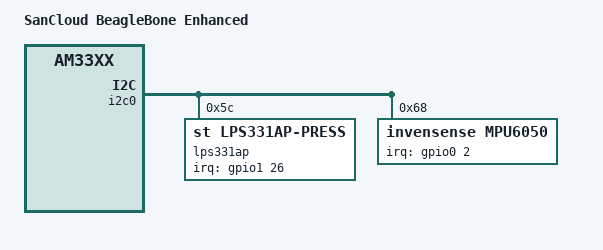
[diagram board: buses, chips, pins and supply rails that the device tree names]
// SPDX-License-Identifier: GPL-2.0-only
/*
 * Copyright (C) 2012 Texas Instruments Incorporated - https://www.ti.com/
 */
/dts-v1/;

#include "am33xx.dtsi"
#include "am335x-bone-common.dtsi"
#include "am335x-boneblack-common.dtsi"
#include "am335x-boneblack-hdmi.dtsi"
#include "am335x-sancloud-bbe-common.dtsi"
#include <dt-bindings/interrupt-controller/irq.h>

/ {
	model = "SanCloud BeagleBone Enhanced";
	compatible = "sancloud,am335x-boneenhanced", "ti,am335x-bone-black", "ti,am335x-bone", "ti,am33xx";
};

&am33xx_pinmux {
	mpu6050_pins: mpu6050-pins {
		pinctrl-single,pins = <
			AM33XX_PADCONF(AM335X_PIN_UART0_CTSN, PIN_INPUT, MUX_MODE7)    /* uart0_ctsn.gpio1_8 */
		>;
	};

	lps3331ap_pins: lps3331ap-pins {
		pinctrl-single,pins = <
			AM33XX_PADCONF(AM335X_PIN_GPMC_A10, PIN_INPUT, MUX_MODE7)     /* gpmc_a10.gpio1_26 */
		>;
	};
};

&i2c0 {
	lps331ap: barometer@5c {
		pinctrl-names = "default";
		pinctrl-0 = <&lps3331ap_pins>;
		compatible = "st,lps331ap-press";
		st,drdy-int-pin = <1>;
		reg = <0x5c>;
		interrupt-parent = <&gpio1>;
		interrupts = <26 IRQ_TYPE_EDGE_RISING>;
	};

	mpu6050: accelerometer@68 {
		pinctrl-names = "default";
		pinctrl-0 = <&mpu6050_pins>;
		compatible = "invensense,mpu6050";
		reg = <0x68>;
		interrupt-parent = <&gpio0>;
		interrupts = <2 IRQ_TYPE_EDGE_RISING>;
		orientation = <0xff 0 0 0 1 0 0 0 0xff>;
	};
};
